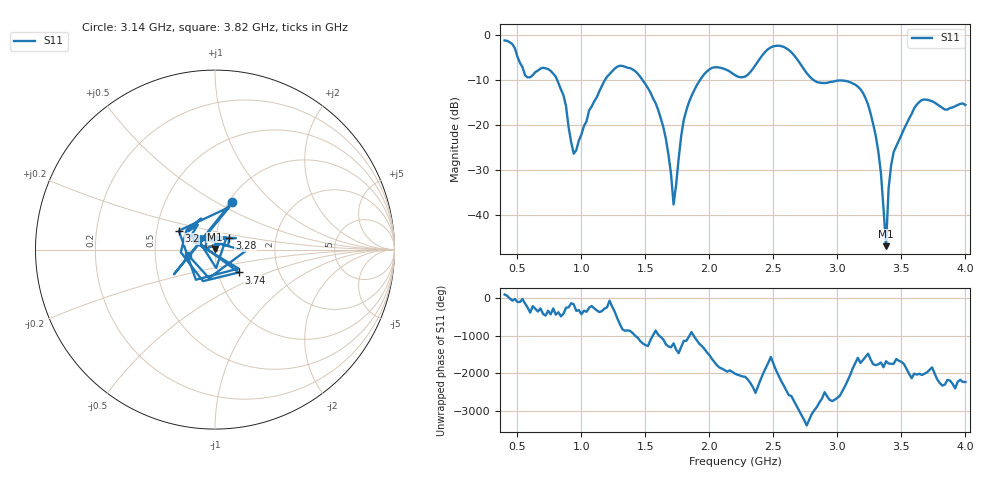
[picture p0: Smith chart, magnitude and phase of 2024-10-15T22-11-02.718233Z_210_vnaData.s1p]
! Created with skrf (http://scikit-rf.org).
# Hz S RI R 50.0
!freq ReS11 ImS11
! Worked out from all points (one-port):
!   181 points, 400 MHz to 4 GHz, reference 50 ohm
!   lowest |S11| = -46.9 dB at 3.38 GHz (marker M1), VSWR 1.01, Z = 49.8 + j0.39 ohm
!   |S11| at or under -10 dB: 810.6 MHz to 1.184 GHz (373.4 MHz wide, 37.4 % of centre); 1.478 GHz to 1.927 GHz (449.2 MHz wide, 26.4 % of centre); 2.814 GHz to end of sweep
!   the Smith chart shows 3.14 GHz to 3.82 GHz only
!   S11 on the Smith chart (normalised r, x): 3.14 GHz: 1.03, +0.59; 3.2 GHz: 0.65, +0.14; 3.28 GHz: 1.16, +0.15; 3.74 GHz: 1.26, -0.33; 3.82 GHz: 0.73, -0.04
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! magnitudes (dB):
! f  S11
! 400 MHz  -1.2
! 560 MHz  -9.0
! 740 MHz  -7.6
! 860 MHz  -13.4
! 940 MHz  -26.3
! 1.3 GHz  -6.8
! 1.58 GHz  -15.2
! 1.66 GHz  -23.1
! 1.72 GHz  -37.6
! 1.76 GHz  -27.4
! 1.82 GHz  -16.7
! 1.94 GHz  -9.4
! 2.2 GHz  -8.9
! 2.5 GHz  -2.5
! 2.66 GHz  -4.5
! 2.84 GHz  -10.5
! 3.1 GHz  -10.5
! 3.14 GHz  -11.0
! 3.2 GHz  -12.9
! 3.28 GHz  -19.8
! 3.34 GHz  -30.6
! 3.38 GHz  -46.9
! 3.4 GHz  -34.1
! 3.42 GHz  -28.9
! 3.56 GHz  -18.6
! 3.74 GHz  -14.7
! 3.82 GHz  -16.2
! 4 GHz  -15.5
